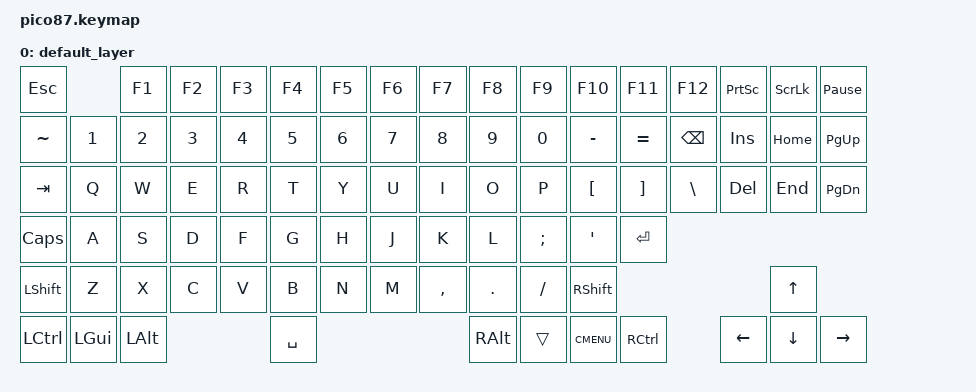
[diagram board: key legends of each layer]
/*
 * Copyright (c) 2023 The ZMK Contributors
 *
 * SPDX-License-Identifier: MIT
 */

#include <behaviors.dtsi>
#include <dt-bindings/zmk/keys.h>

/ {
    keymap {
        compatible = "zmk,keymap";

        default_layer {
// | Esc |  | F1 | F2 | F3 | F4 | | F5 | F6 | F7 | F8 | | F9 | F10 | F11 | F12 | | PS | SL | PB |
// | `~  |  1 |  2 |  3 |  4 |  5 |  6 |  7 |  8 |  9 |  0 |  - |  = | BS|      | Ins | HM | PU |
// | Tab |  Q |  W |  E |  R |  S |  T |  Y |  U |  I |  O |  P |  [ |  ] |  \ | | Del | End | PD |
// | Caps |  A |  S |  D |  F |  G |  H |  J |  K |  L |  ; |  ' | Enter |
// |Shift |  Z |  X |  C |  V |  B |  N |  M |  , |  . |  / | Shift |      | Up |
// | Ctrl | Meta | Alt | Space | Alt | Fn | Meta | Ctrl |         | Left | Down | Right |
            bindings = <
&kp ESC              &kp F1  &kp F2  &kp F3  &kp F4  &kp F5  &kp F6  &kp F7    &kp F8   &kp F9   &kp F10    &kp F11   &kp F12  &kp PSCRN &kp SLCK &kp PAUSE_BREAK
&kp TILDE  &kp N1    &kp N2  &kp N3  &kp N4  &kp N5  &kp N6  &kp N7  &kp N8    &kp N9   &kp N0   &kp MINUS  &kp EQUAL &kp BSPC &kp INS   &kp HOME &kp PG_UP
&kp TAB    &kp Q     &kp W   &kp E   &kp R   &kp T   &kp Y   &kp U   &kp I     &kp O    &kp P    &kp LBKT   &kp RBKT  &kp BSLH &kp DEL   &kp END  &kp PG_DN
&kp CLCK   &kp A     &kp S   &kp D   &kp F   &kp G   &kp H   &kp J   &kp K     &kp L    &kp SEMI &kp SQT    &kp RET
&kp LSHFT  &kp Z     &kp X   &kp C   &kp V   &kp B   &kp N   &kp M   &kp COMMA &kp DOT  &kp FSLH &kp RSHFT                               &kp UP
&kp LCTRL  &kp LGUI  &kp LALT                &kp SPACE                         &kp RALT &trans   &kp K_CMENU &kp RCTRL         &kp LEFT  &kp DOWN &kp RIGHT
            >;
        };
    };
};
